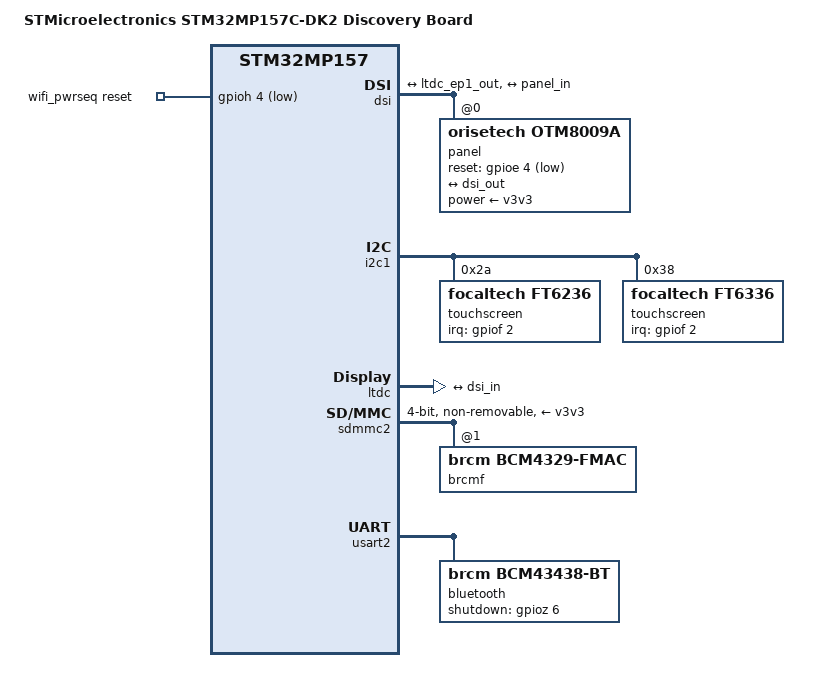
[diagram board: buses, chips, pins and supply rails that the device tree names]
// SPDX-License-Identifier: (GPL-2.0+ OR BSD-3-Clause)
/*
 * Copyright (C) STMicroelectronics 2018 - All Rights Reserved
 * Author: Alexandre Torgue <alexandre.torgue@st.com>.
 */

/dts-v1/;

#include "stm32mp157a-dk1.dts"
#include <dt-bindings/rtc/rtc-stm32.h>

/ {
	model = "STMicroelectronics STM32MP157C-DK2 Discovery Board";
	compatible = "st,stm32mp157c-dk2", "st,stm32mp157";

	aliases {
		serial3 = &usart2;
	};

	wifi_pwrseq: wifi-pwrseq {
		compatible = "mmc-pwrseq-simple";
		reset-gpios = <&gpioh 4 GPIO_ACTIVE_LOW>;
	};
};

&dsi {
	#address-cells = <1>;
	#size-cells = <0>;
	status = "okay";

	ports {
		#address-cells = <1>;
		#size-cells = <0>;

		port@0 {
			reg = <0>;
			dsi_in: endpoint {
				remote-endpoint = <&ltdc_ep1_out>;
			};
		};

		port@1 {
			reg = <1>;
			dsi_out: endpoint {
				remote-endpoint = <&panel_in>;
			};
		};
	};

	panel: panel@0 {
		compatible = "orisetech,otm8009a";
		reg = <0>;
		reset-gpios = <&gpioe 4 GPIO_ACTIVE_LOW>;
		power-supply = <&v3v3>;
		status = "okay";

		port {
			panel_in: endpoint {
				remote-endpoint = <&dsi_out>;
			};
		};
	};
};

&i2c1 {
	touchscreen@2a {
		compatible = "focaltech,ft6236";
		reg = <0x2a>;
		interrupts = <2 2>;
		interrupt-parent = <&gpiof>;
		interrupt-controller;
		touchscreen-size-x = <480>;
		touchscreen-size-y = <800>;
		panel = <&panel>;
		status = "okay";
	};
	touchscreen@38 {
		compatible = "focaltech,ft6336";
		reg = <0x38>;
		interrupts = <2 2>;
		interrupt-parent = <&gpiof>;
		interrupt-controller;
		touchscreen-size-x = <480>;
		touchscreen-size-y = <800>;
		panel = <&panel>;
		status = "okay";
	};
};

&ltdc {
	status = "okay";

	port {
		#address-cells = <1>;
		#size-cells = <0>;

		ltdc_ep1_out: endpoint@1 {
			reg = <1>;
			remote-endpoint = <&dsi_in>;
		};
	};
};

&rtc {
	st,lsco = <RTC_OUT2_RMP>;
	pinctrl-0 = <&rtc_out2_rmp_pins_a>;
	pinctrl-names = "default";
};

/* Wifi */
&sdmmc2 {
	arm,primecell-periphid = <0x10153180>;
	pinctrl-names = "default", "opendrain", "sleep";
	pinctrl-0 = <&sdmmc2_b4_pins_b>;
	pinctrl-1 = <&sdmmc2_b4_od_pins_b>;
	pinctrl-2 = <&sdmmc2_b4_sleep_pins_a>;
	non-removable;
	st,neg-edge;
	bus-width = <4>;
	vmmc-supply = <&v3v3>;
	mmc-pwrseq = <&wifi_pwrseq>;
	#address-cells = <1>;
	#size-cells = <0>;
	keep-power-in-suspend;
	status = "okay";

	brcmf: bcrmf@1 {
		reg = <1>;
		compatible = "brcm,bcm4329-fmac";
	};
};

/* Bluetooth */
&usart2 {
	pinctrl-names = "default", "sleep", "idle";
	pinctrl-0 = <&usart2_pins_a>;
	pinctrl-1 = <&usart2_sleep_pins_a>;
	pinctrl-2 = <&usart2_idle_pins_a>;
	st,hw-flow-ctrl;
	status = "okay";

	bluetooth {
		shutdown-gpios = <&gpioz 6 GPIO_ACTIVE_HIGH>;
		compatible = "brcm,bcm43438-bt";
		max-speed = <3000000>;
	};
};
